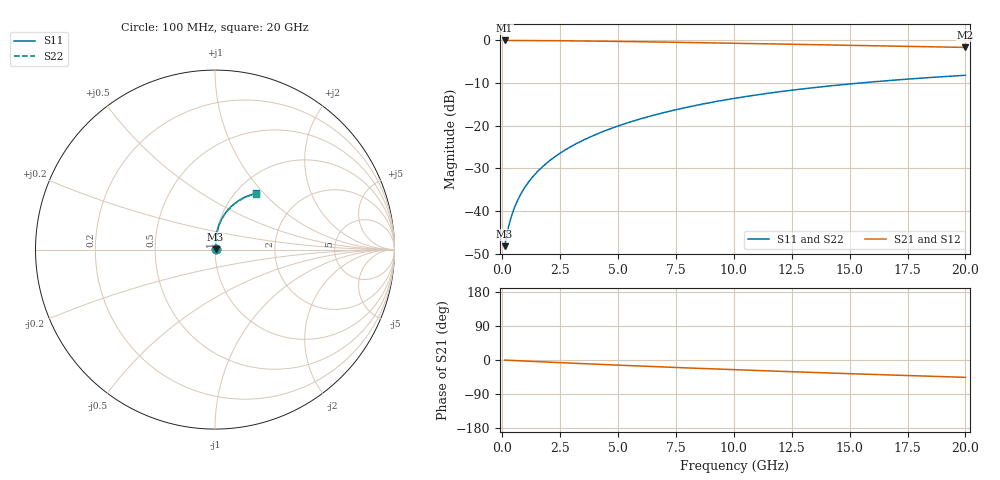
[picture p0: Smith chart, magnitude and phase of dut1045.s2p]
! Touchstone file exported from HFSS 2024.1.0
!  File:  C:/UserFiles/LocalFiles/RDL_TSV_Batchsim/temp_RDL_top_1045_1780044241.aedt
!  Generated:  04:46:30 PM May 29, 2026
!  Design:  RDL_top
!  Project:  temp_RDL_top_1045_1780044241
!  Setup:  Setup1
!  Solution:  Sweep
! Variables:
!  dtsv = 10.80580581um
!  hbump = 3um
!  htsv = 84.62um
!  ldown = 100um
!  lrdl = 641.76um
!  p = 40
!  p1 = 54.07um
!  rhole = 1um
!  t = 450um
!  tdown = 3.915915916um
!  trdl = 3.13um
!  wdown = 15.38538539um
!  wrdl = 24.19um
# GHz S MA R 50.000000
! Terminal data exported
! Port[1] = Box2_T1
! Port[2] = Box2_T2
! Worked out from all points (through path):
!   200 points, 100 MHz to 20 GHz, reference 50 ohm
!   highest |S21| = -0.03 dB at 100 MHz (marker M1); lowest = -1.7 dB at 20 GHz (marker M2)
!   group delay of S21, straight-line fit = 6.3 ps
!   lowest |S11| = -48.3 dB at 100 MHz (marker M3), VSWR 1.01, Z = 50.3 + j0.212 ohm
!   |S11| at or under -10 dB: start of sweep to 15.46 GHz
!   |S22| runs from -48.3 to -8.2 dB; largest |S21 - S12| = 7.2e-15
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0.1  0.00386 33.0  0.9968 -0.3  0.9968 -0.3  0.00386 33.0
! Gamma 0 0 0 0
! Port Impedance 50 0 50 0
0.2  0.005345 50.5  0.9966 -0.6  0.9966 -0.6  0.005345 50.5
0.3  0.007032 59.4  0.9963 -0.9  0.9963 -0.9  0.007032 59.4
0.4  0.008755 64.8  0.9961 -1.2  0.9961 -1.2  0.008755 64.8
0.5  0.01049 68.4  0.9959 -1.4  0.9959 -1.4  0.01049 68.4
0.6  0.01223 71.2  0.9957 -1.7  0.9957 -1.7  0.01223 71.1
0.8  0.01576 75.0  0.9952 -2.3  0.9952 -2.3  0.01576 74.9
1.1  0.02117 78.5  0.9945 -3.1  0.9945 -3.1  0.02117 78.4
1.3  0.02483 80.0  0.9939 -3.7  0.9939 -3.7  0.02483 79.9
1.6  0.0304 81.6  0.993 -4.5  0.993 -4.5  0.0304 81.5
2.1  0.03988 83.1  0.9909 -5.9  0.9909 -5.9  0.03987 83.0
2.7  0.05154 84.0  0.9879 -7.5  0.9879 -7.5  0.05151 83.9
3.5  0.06758 84.3  0.983 -9.7  0.983 -9.7  0.06752 84.2
4.2  0.08205 84.1  0.9779 -11.5  0.9779 -11.5  0.08195 83.9
5  0.09901 83.4  0.9716 -13.6  0.9716 -13.6  0.09885 83.2
6.8  0.1383 80.8  0.9555 -18.1  0.9555 -18.1  0.138 80.6
8.4  0.1735 77.8  0.9402 -21.9  0.9402 -21.9  0.1731 77.6
10.1  0.2104 74.2  0.9233 -25.7  0.9233 -25.7  0.2098 74.0
11.7  0.244 70.7  0.9073 -29.2  0.9073 -29.2  0.2432 70.6
13.4  0.2779 67.1  0.8903 -32.8  0.8903 -32.8  0.2769 66.9
16.7  0.3377 60.1  0.8577 -39.5  0.8577 -39.5  0.3365 59.9
20  0.3893 53.6  0.826 -45.7  0.826 -45.7  0.3878 53.4
